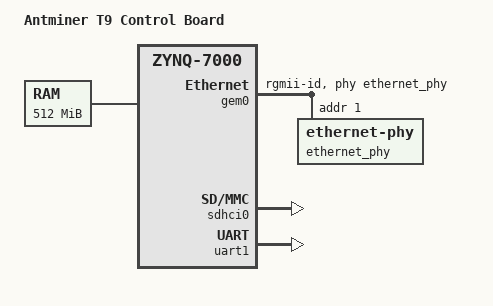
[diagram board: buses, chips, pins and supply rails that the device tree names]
// SPDX-License-Identifier: GPL-2.0+
/*
 *  Copyright (C) 2024 warmonkey <luoshumymail@gmail.com>
 */
/dts-v1/;
#include "zynq-7000.dtsi"

/ {
	model = "Antminer T9 Control Board";
	compatible = "antminer,zynq-t9", "xlnx,zynq-7000";

	aliases {
		ethernet0 = &gem0;
		serial0 = &uart1;
		spi0 = &qspi;
		mmc0 = &sdhci0;
	};

	memory@0 {
		device_type = "memory";
		reg = <0x0 0x20000000>;
	};

	chosen {
		bootargs = "";
		stdout-path = "serial0:115200n8";
	};
};

&clkc {
	ps-clk-frequency = <33333333>;
};

&gem0 {
	status = "okay";
	phy-mode = "rgmii-id";
	phy-handle = <&ethernet_phy>;

	ethernet_phy: ethernet-phy@0 {
		reg = <1>;
	};
};

&sdhci0 {
	bootph-all;
	status = "okay";
};

&uart1 {
	bootph-all;
	status = "okay";
};
